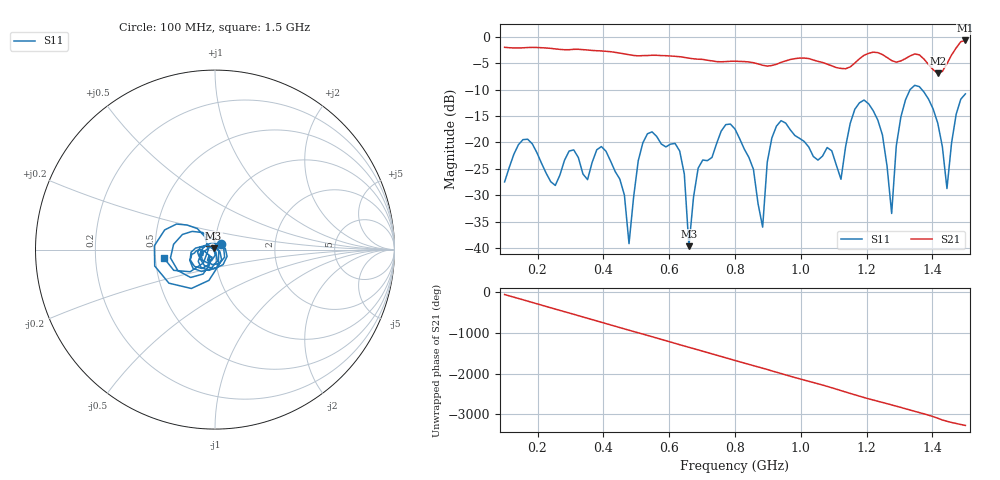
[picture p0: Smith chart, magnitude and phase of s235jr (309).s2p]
! NanoVNA-App
! Date: 2025-09-25 15:06:34
! Start: 100MHz Stop: 1,5GHz Points: 101
! S-Parameter data: F S11 S21 S12 S22
# Hz S RI R 50
!  Frequency  S11_Real  S11_Imag  S21_Real  S21_Imag  S12_Real  S12_Imag  S22_Real  S22_Imag
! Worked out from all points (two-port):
!   101 points, 100 MHz to 1.5 GHz, reference 50 ohm
!   highest |S21| = -0.66 dB at 1.5 GHz (marker M1); lowest = -6.9 dB at 1.416 GHz (marker M2)
!   |S21| within 3 dB of the highest: start of sweep to 616.7 MHz; 1.188 GHz to 1.256 GHz (68.04 MHz wide, 5.57 % of centre) (the widest 2 of 4)
!   lowest |S11| = -39.7 dB at 660 MHz (marker M3), VSWR 1.02, Z = 49.2 + j0.63 ohm
!   |S11| at or under -10 dB: start of sweep to 1.332 GHz; 1.368 GHz to end of sweep
!   S12 and S22 are empty: the file has one direction only
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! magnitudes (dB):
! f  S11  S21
! 100 MHz  -27.5  -2.0
! 156 MHz  -19.5  -2.1
! 338 MHz  -26.0  -2.4
! 408 MHz  -21.7  -2.7
! 478 MHz  -39.2  -3.4
! 520 MHz  -20.1  -3.5
! 576 MHz  -20.3  -3.5
! 632 MHz  -21.6  -3.7
! 660 MHz  -39.7  -4.0
! 688 MHz  -24.9  -4.2
! 800 MHz  -17.5  -4.6
! 884 MHz  -36.0  -5.4
! 926 MHz  -16.9  -5.2
! 1.038 GHz  -22.7  -4.4
! 1.122 GHz  -27.0  -6.0
! 1.192 GHz  -12.0  -3.5
! 1.248 GHz  -18.6  -3.3
! 1.276 GHz  -33.5  -4.5
! 1.332 GHz  -10.0  -3.6
! 1.416 GHz  -16.3  -6.9
! 1.444 GHz  -28.7  -5.1
! 1.5 GHz  -10.8  -0.7
